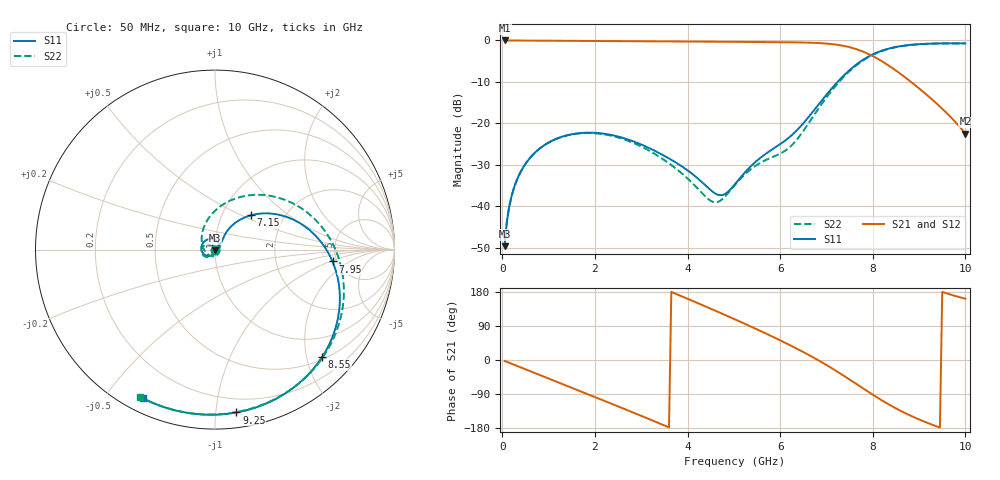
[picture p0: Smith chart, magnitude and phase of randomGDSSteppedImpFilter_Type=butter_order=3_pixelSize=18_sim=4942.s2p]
! freq	dB(S11)	phase(S11)	dB(S12)	phase(S12)
!  dB(S21)	phase(S21)	dB(S22)	phase(S22)
!S-par simulation data
#  GHz  S  DB  R 50
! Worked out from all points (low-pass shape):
!   200 points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, 50 MHz to 10 GHz, reference 50 ohm
!   highest |S21| = 0.00 dB at 50 MHz (marker M1); lowest = -22.4 dB at 10 GHz (marker M2)
!   |S21| within 3 dB of the highest: start of sweep to 7.856 GHz
!   lowest |S11| = -49.6 dB at 50 MHz (marker M3), VSWR 1.01, Z = 50 - j0.332 ohm
!   |S11| at or under -10 dB: start of sweep to 7.24 GHz
!   |S22| runs from -49.6 to -0.7 dB; largest |S21 - S12| = 0
!   S11 on the Smith chart (normalised r, x): 50 MHz: 1.00, -0.01; 7.15 GHz: 1.37, +0.57; 7.95 GHz: 4.59, -1.07; 8.55 GHz: 0.55, -2.30; 9.25 GHz: 0.10, -1.14; 10 GHz: 0.06, -0.62
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0.05  -49.56 -91.5  -0.00 -2.5  -0.00 -2.5  -49.55 -91.0
0.1  -43.54 -94.7  -0.01 -5.0  -0.01 -5.0  -43.53 -93.6
0.2  -37.52 -100.3  -0.02 -9.8  -0.02 -9.8  -37.51 -98.2
0.5  -29.74 -117.1  -0.03 -24.5  -0.03 -24.5  -29.73 -112.0
1.15  -23.78 -153.7  -0.08 -56.2  -0.08 -56.2  -23.79 -141.0
1.75  -22.25 171.9  -0.12 -85.4  -0.12 -85.4  -22.33 -166.4
2.5  -23.15 125.7  -0.16 -122.4  -0.16 -122.4  -23.37 164.6
3.4  -27.20 62.1  -0.21 -167.6  -0.21 -167.6  -28.09 135.4
3.95  -30.89 23.2  -0.25 164.2  -0.25 164.2  -32.75 116.3
4.55  -36.50 11.4  -0.30 132.8  -0.30 132.8  -38.90 54.7
4.8  -37.05 32.0  -0.32 119.4  -0.32 119.4  -37.72 7.6
5.05  -34.29 48.4  -0.34 105.9  -0.34 105.9  -34.45 -26.2
5.85  -26.09 48.8  -0.40 60.8  -0.40 60.8  -28.02 -107.7
6.25  -22.83 53.1  -0.45 36.8  -0.45 36.8  -25.26 -167.4
6.7  -17.26 56.3  -0.56 7.8  -0.56 7.8  -18.51 126.6
7.15  -11.11 43.5  -0.92 -24.3  -0.92 -24.3  -11.58 77.9
7.55  -6.66 21.3  -1.78 -55.5  -1.78 -55.5  -6.87 39.9
7.95  -3.63 -5.8  -3.49 -87.7  -3.49 -87.7  -3.74 4.2
8.35  -1.94 -32.6  -6.09 -117.5  -6.09 -117.5  -2.00 -27.7
8.55  -1.46 -45.1  -7.65 -130.8  -7.65 -130.8  -1.51 -41.9
9.25  -0.77 -82.5  -13.92 -169.3  -13.92 -169.3  -0.78 -82.7
10  -0.72 -116.0  -22.45 161.8  -22.45 161.8  -0.71 -116.9
